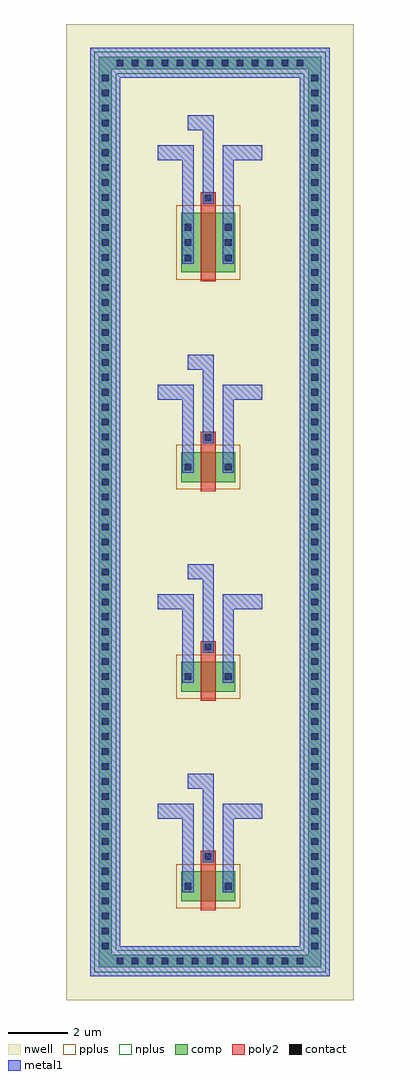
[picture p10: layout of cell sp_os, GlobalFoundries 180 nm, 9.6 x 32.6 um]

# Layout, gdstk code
import gdstk
lib = gdstk.Library(unit=1e-6, precision=1e-09)
def R(c, l, rs):  # rectangles x0, y0, x1, y1
    for r in rs: c.add(gdstk.rectangle(r[:2], r[2:], *l))
def A(c, l, x, y, w, h, nx, ny, dx, dy):  # array of equal rectangles
    R(c, l, [(x+i*dx, y+j*dy, x+i*dx+w, y+j*dy+h) for i in range(nx) for j in range(ny)])
nwell = (21, 0)
comp = (22, 0)
poly2 = (30, 0)
pplus = (31, 0)
nplus = (32, 0)
contact = (33, 0)
metal1 = (34, 0)

pfet__15 = lib.new_cell('pfet__15')
R(pfet__15, nwell, [(-0.9,-0.44,1.78,1.44)])
R(pfet__15, comp, [(-0.46,0,0,1), (0,0,0.88,1), (0.88,0,1.34,1)])
R(pfet__15, poly2, [(0.19,-0.3,0.69,1.3), (0.19,1.3,0.69,1.68)])
R(pfet__15, pplus, [(-0.63,-0.24,1.51,1.24)])
R(pfet__15, contact, [(-0.34,0.39,-0.12,0.61), (1,0.39,1.22,0.61), (0.33,1.38,0.55,1.6)])
R(pfet__15, metal1, [(-0.42,0.305,-0.04,0.695), (0.92,0.305,1.3,0.695), (0.25,1.295,0.63,1.685)])

pfet__14 = lib.new_cell('pfet__14')
R(pfet__14, nwell, [(-0.9,-0.44,1.78,2.44)])
R(pfet__14, comp, [(-0.46,0,0,2), (0,0,0.88,2), (0.88,0,1.34,2)])
R(pfet__14, poly2, [(0.19,-0.3,0.69,2.3), (0.19,2.3,0.69,2.68)])
R(pfet__14, pplus, [(-0.63,-0.24,1.51,2.24)])
A(pfet__14, contact, -0.34, 0.38, 0.22, 0.22, 1, 3, 0, 0.51)
A(pfet__14, contact, 1, 0.38, 0.22, 0.22, 1, 3, 0, 0.51)
R(pfet__14, contact, [(0.33,2.38,0.55,2.6)])
R(pfet__14, metal1, [(-0.42,0.3,-0.04,1.7), (0.92,0.3,1.3,1.7), (0.25,2.295,0.63,2.685)])

sp_os = lib.new_cell('sp_os')
R(sp_os, nwell, [(-4.3,-3.3,5.3,29.3)])
R(sp_os, comp, [(-3.21,-2.21,-2.79,28.21), (-2.79,-2.21,3.79,-1.79), (3.79,-2.21,4.21,28.21), (-2.79,27.79,3.79,28.21)])
R(sp_os, nplus, [(-3.37,-2.37,4.37,-1.63), (-3.37,-2.37,-2.63,28.37), (3.63,-2.37,4.37,28.37), (-3.37,27.63,4.37,28.37)])
A(sp_os, contact, -2.61, -2.11, 0.22, 0.22, 13, 2, 0.5, 30)
A(sp_os, contact, -3.11, -1.61, 0.22, 0.22, 1, 59, 0, 0.5)
A(sp_os, contact, 3.89, -1.61, 0.22, 0.22, 1, 59, 0, 0.5)
A(sp_os, metal1, -0.42, 0.675, 0.38, 2.575, 1, 3, 0, 7)
A(sp_os, metal1, 0.92, 0.675, 0.38, 2.575, 1, 3, 0, 7)
A(sp_os, metal1, 0.25, 1.665, 0.38, 2.585, 1, 3, 0, 7)
A(sp_os, metal1, -1.25, 2.75, 1.21, 0.5, 1, 3, 0, 7)
A(sp_os, metal1, 0.92, 2.75, 1.33, 0.5, 1, 3, 0, 7)
A(sp_os, metal1, -0.25, 3.75, 0.88, 0.5, 1, 3, 0, 7)
R(sp_os, metal1, [(-3.5,-2.5,-2.5,28.5), (-2.5,-2.5,3.5,-1.5), (3.5,-2.5,4.5,28.5), (-0.42,22.68,-0.04,25.25), (0.92,22.68,1.3,25.25), (0.25,23.665,0.63,26.25), (-1.25,24.75,-0.04,25.25), (0.92,24.75,2.25,25.25), (-0.25,25.75,0.63,26.25), (-2.5,27.5,3.5,28.5)])
sp_os.add(gdstk.Reference(pfet__15, (0,0)))
sp_os.add(gdstk.Reference(pfet__15, (0,7)))
sp_os.add(gdstk.Reference(pfet__15, (0,14)))
sp_os.add(gdstk.Reference(pfet__14, (0,21)))

lib.write_gds('sp_os.gds')
